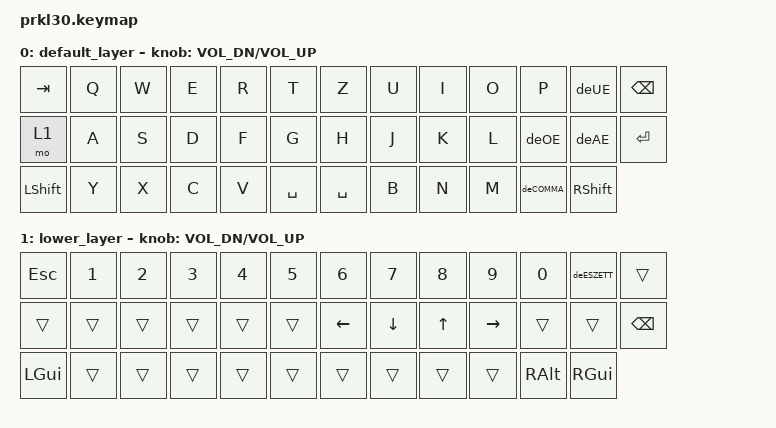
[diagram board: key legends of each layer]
/*
 * Copyright (c) 2021 The ZMK Contributors
 *
 * SPDX-License-Identifier: MIT
 */


#include <behaviors.dtsi>
#include <dt-bindings/zmk/keys.h>
#include <dt-bindings/zmk/bt.h>
#include <dt-bindings/zmk/rgb.h>
#include <dt-bindings/zmk/outputs.h>
#include "language_german.dtsi"

/ {

    keymap {
                compatible = "zmk,keymap";

                default_layer {
    // ┌────┬────┬────┬────┬────┬────┬────┬────┬────┬────┬────┬────┬──────┐
    // │Tab │ Q  │ W  │ E  │ R  │ T  │ Z  │ U  │ I  │ O  │ P  │ Ü  │ Bac  │
    // ├────┼────┼────┼────┼────┼────┼────┼────┼────┼────┼────┼────┼──────┤
    // │Low │ A  │ S  │ D  │ F  │ G  │ H  │ J  │ K  │ L  │ Ö  │ Ä  │      │
    // ├────┼────┼────┼────┼────┼────┴────┼────┼────┼────┼────┼────┴┐ Ent │
    // │Shft│ Y  │ X  │ C  │ V  │  Space  │ B  │ N  │ M  │ ,  │./Sft│     │
    // └────┴────┴────┴────┴────┴─────────┴────┴────┴────┴────┴─────┴─────┘
                bindings = <
    &kp TAB   &kp Q  &kp W   &kp E   &kp R  &kp T     &kp Z     &kp U  &kp I  &kp O  &kp P       &kp deUE        &kp BACKSPACE  
    &mo 1     &kp A  &kp S   &kp D   &kp F  &kp G     &kp H     &kp J  &kp K  &kp L  &kp deOE    &kp deAE        &kp RET   
    &kp LSHFT &kp Y  &kp X   &kp C   &kp V  &kp SPACE &kp SPACE &kp B  &kp N  &kp M  &kp deCOMMA &kp RSHFT   
                >;
            sensor-bindings = <&inc_dec_kp C_VOL_DN C_VOL_UP>;
                };
                
                lower_layer{
    // Lower
    // ┌────┬────┬────┬────┬────┬────┬────┬────┬────┬────┬────┬────┬──────┐
    // │Esc │ 1  │ 2  │ 3  │ 4  │ 5  │ 6  │ 7  │ 8  │ 9  │ 0  │ ß  │      │
    // ├────┼────┼────┼────┼────┼────┼────┼────┼────┼────┼────┼────┼──────┤
    // │    │    │    │    │    │    │ ←  │ ↓  │ ↑  │ →  │    │    │      │
    // ├────┼────┼────┼────┼────┼────┴────┼────┼────┼────┼────┼────┴┐ Bac │
    // │cmd │    │    │    │    │         │    │    │    │opt │ cmd │     │
    // └────┴────┴────┴────┴────┴─────────┴────┴────┴────┴────┴─────┴─────┘
    bindings = <
    &kp ESC   &kp NUMBER_1  &kp NUMBER_2   &kp NUMBER_3   &kp NUMBER_4  &kp NUMBER_5     &kp NUMBER_6     &kp NUMBER_7  &kp NUMBER_8  &kp NUMBER_9  &kp NUMBER_0       &kp deESZETT        &trans  
    &trans    &trans        &trans         &trans         &trans        &trans           &kp LEFT         &kp DOWN      &kp UP        &kp RIGHT     &trans             &trans              &kp BACKSPACE   
    &kp LGUI  &trans        &trans         &trans         &trans        &trans           &trans           &trans        &trans        &trans        &kp RALT           &kp RGUI  
                >;
            sensor-bindings = <&inc_dec_kp C_VOL_DN C_VOL_UP>;
                };

        };
};
